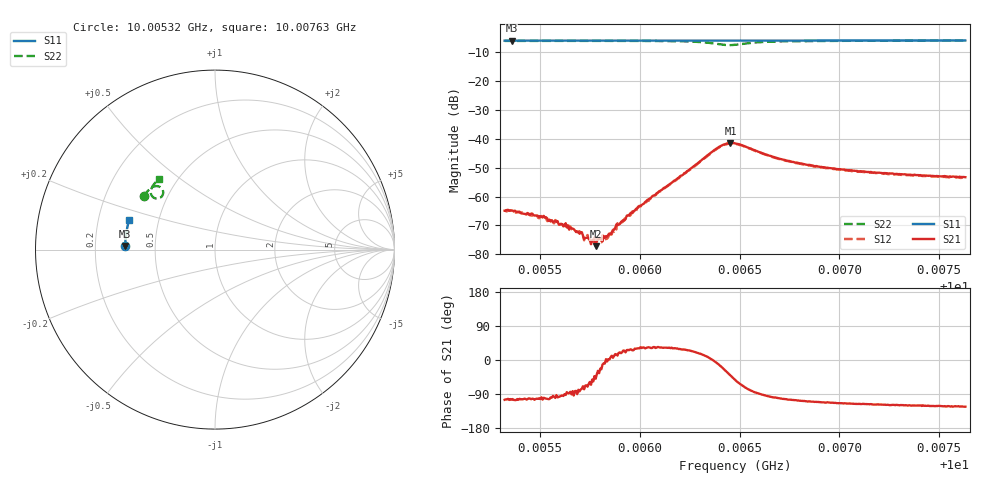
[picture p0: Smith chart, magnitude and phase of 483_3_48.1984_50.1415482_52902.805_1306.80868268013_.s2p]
#  HZ  S  RI  R  50.00
! Rohde & Schwarz Vector Network Analyzer
! Rohde-Schwarz,ZNB20-2Port,1311601062101988,3.16
! Created: UTC 3/20/2024, 11:57:45 AM
! freq[Hz]  re:S11  im:S11  re:S21  im:S21  re:S12  im:S12  re:S22  im:S22
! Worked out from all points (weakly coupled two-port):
!   401 points, 10.00532 GHz to 10.00763 GHz, reference 50 ohm
!   highest |S21| = -41.44 dB at 10.00645 GHz (marker M1); lowest = -77.2 dB at 10.00578 GHz (marker M2)
!   lowest |S11| = -6.0 dB at 10.00536 GHz (marker M3), VSWR 3.01, Z = 16.6 + j0.901 ohm
!   |S11| at or under -10 dB: nowhere
!   |S22| runs from -7.6 to -6.0 dB; largest |S21 - S12| = 0.00052
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1.0005322e10  -0.5004 0.0179  -0.000147 -0.00055  -0.000111 -0.000582  -0.3976 0.2962
1.0005357e10  -0.5002 0.0203  -0.000146 -0.000555  -0.000124 -0.000552  -0.3961 0.2982
1.0005519e10  -0.5002 0.0309  -7.84e-05 -0.000456  -4.98e-05 -0.000427  -0.3894 0.3078
1.0005646e10  -0.4998 0.039  1.06e-05 -0.000267  -1.56e-05 -0.000311  -0.3836 0.3154
1.0005709e10  -0.4996 0.0433  5.88e-05 -0.000235  9.29e-05 -0.000178  -0.3803 0.3193
1.0005767e10  -0.4996 0.0469  9.97e-05 -0.000151  0.000124 -0.000107  -0.3774 0.3229
1.0005779e10  -0.4994 0.0477  8.99e-05 -0.000105  0.000112 -0.000101  -0.3769 0.3236
1.000579e10  -0.4994 0.0484  0.00016 -8.74e-05  0.000137 -0.000102  -0.3761 0.3243
1.000583e10  -0.4992 0.0509  0.000207 7.97e-06  0.000181 -3.26e-05  -0.3739 0.3269
1.0005848e10  -0.4989 0.0522  0.000229 5.15e-06  0.000228 -1.62e-05  -0.3728 0.3281
1.0005882e10  -0.4988 0.0544  0.000319 8.55e-05  0.000258 7.99e-05  -0.3709 0.3302
1.0005934e10  -0.4986 0.0578  0.000418 0.000205  0.000392 0.000203  -0.3673 0.3336
1.0006096e10  -0.4976 0.0682  0.00102 0.000679  0.000985 0.000703  -0.3538 0.3449
1.0006385e10  -0.4945 0.0867  0.00675 -0.000865  0.00662 -0.000491  -0.2911 0.3316
1.0006419e10  -0.4941 0.0887  0.00729 -0.0031  0.00731 -0.00269  -0.2896 0.3107
1.0006454e10  -0.4938 0.0908  0.00639 -0.00556  0.00654 -0.00507  -0.3019 0.2914
1.0006477e10  -0.4938 0.0921  0.0051 -0.00662  0.00534 -0.00623  -0.3153 0.2849
1.0006564e10  -0.4933 0.0974  0.000886 -0.00652  0.00122 -0.00636  -0.3515 0.2991
1.0006691e10  -0.4922 0.1057  -0.000819 -0.00454  -0.000595 -0.00451  -0.3577 0.3278
1.0006864e10  -0.49 0.1168  -0.00118 -0.00325  -0.000985 -0.00324  -0.3502 0.349
1.0007251e10  -0.4843 0.1412  -0.00123 -0.00221  -0.00104 -0.00222  -0.3299 0.3757
1.0007632e10  -0.4777 0.1648  -0.00119 -0.00181  -0.00106 -0.00183  -0.3103 0.395
